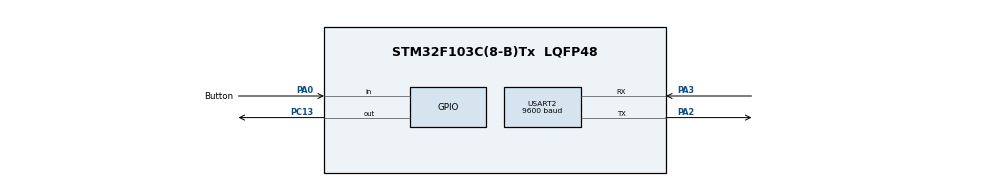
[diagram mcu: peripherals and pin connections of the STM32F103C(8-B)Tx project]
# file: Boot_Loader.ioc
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Mcu.Family=STM32F1
Mcu.Name=STM32F103C(8-B)Tx
Mcu.Package=LQFP48
NVIC.PriorityGroup=NVIC_PRIORITYGROUP_4
PA0-WKUP.GPIO_Label=Button
PA0-WKUP.GPIO_PuPd=GPIO_PULLUP
PA0-WKUP.Signal=GPIO_Input
PA13.Mode=Serial_Wire
PA13.Signal=SYS_JTMS-SWDIO
PA14.Mode=Serial_Wire
PA14.Signal=SYS_JTCK-SWCLK
PA2.Mode=Asynchronous
PA2.Signal=USART2_TX
PA3.Mode=Asynchronous
PA3.Signal=USART2_RX
PC13-TAMPER-RTC.Signal=GPIO_Output
PD0-OSC_IN.Mode=HSE-External-Oscillator
PD0-OSC_IN.Signal=RCC_OSC_IN
PD1-OSC_OUT.Mode=HSE-External-Oscillator
PD1-OSC_OUT.Signal=RCC_OSC_OUT
ProjectManager.HeapSize=0x200
ProjectManager.StackSize=0x400
ProjectManager.TargetToolchain=CMake
RCC.APB1Freq_Value=8000000
RCC.APB2Freq_Value=8000000
USART2.BaudRate=9600
USART2.VirtualMode=VM_ASYNC
board=custom

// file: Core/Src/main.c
/* USER CODE BEGIN Header */
/**
 ******************************************************************************
 * @file           : main.c
 * @brief          : Main program body
 ******************************************************************************
 * @attention
 *
 * Copyright (c) 2025 STMicroelectronics.
 * All rights reserved.
 *
 * This software is licensed under terms that can be found in the LICENSE file
 * in the root directory of this software component.
 * If no LICENSE file comes with this software, it is provided AS-IS.
 *
 ******************************************************************************
 */
/* USER CODE END Header */
#include "main.h"

UART_HandleTypeDef huart2;

void SystemClock_Config(void);
static void MX_GPIO_Init(void);
static void MX_USART2_UART_Init(void);
/* USER CODE BEGIN PFP */
int _write(int fd, char *ptr, int len) {
	HAL_StatusTypeDef hstatus;

	if (fd == 1 || fd == 2) {
		hstatus = HAL_UART_Transmit(&huart2, (uint8_t*) ptr, len,HAL_MAX_DELAY);
		if (hstatus == HAL_OK)
			return len;
		else
			return -1;
	}
	return -1;
}
/* USER CODE END PFP */

/* USER CODE BEGIN 0 */

#define ADDR_APP_PROGRAM 0x8008000
typedef void (*pFunction)(void);

void enter_to_app(){
  HAL_RCC_DeInit();
  HAL_DeInit();
  SCB->SHCSR &= ~(SCB_SHCSR_BUSFAULTENA_Msk |
                  SCB_SHCSR_USGFAULTENA_Msk |
                  SCB_SHCSR_MEMFAULTENA_Msk );
  __set_MSP(*(__IO uint32_t*)ADDR_APP_PROGRAM);
  pFunction app_entry = (pFunction) (*(__IO uint32_t*) (ADDR_APP_PROGRAM + 4));
  app_entry();
}

/* USER CODE END 0 */

int main(void)
{

  /* MCU Configuration--------------------------------------------------------*/

  /* Reset of all peripherals, Initializes the Flash interface and the Systick. */
  HAL_Init();

  /* Configure the system clock */
  SystemClock_Config();

  /* Initialize all configured peripherals */
  MX_GPIO_Init();
  MX_USART2_UART_Init();

  /* Infinite loop */
  /* USER CODE BEGIN WHILE */
  uint32_t now = 0; uint32_t next_tick = 1000;
  while (1)
  {
    now = uwTick;
    if(HAL_GPIO_ReadPin(GPIOA,Button_Pin) == 0){
      enter_to_app();
    }
    //HAL_UART_Transmit(&huart2, str, 20,HAL_MAX_DELAY);
    if(now > next_tick){
      printf("\n\n\n-----------\nBootLoaderrr\n");
      next_tick += 1000;
    }
    /* USER CODE END WHILE */

  }
}

void SystemClock_Config(void)
{
  RCC_OscInitTypeDef RCC_OscInitStruct = {0};
  RCC_ClkInitTypeDef RCC_ClkInitStruct = {0};

  /** Initializes the RCC Oscillators according to the specified parameters
  * in the RCC_OscInitTypeDef structure.
  */
  RCC_OscInitStruct.OscillatorType = RCC_OSCILLATORTYPE_HSI;
  RCC_OscInitStruct.HSIState = RCC_HSI_ON;
  RCC_OscInitStruct.HSICalibrationValue = RCC_HSICALIBRATION_DEFAULT;
  RCC_OscInitStruct.PLL.PLLState = RCC_PLL_NONE;
  if (HAL_RCC_OscConfig(&RCC_OscInitStruct) != HAL_OK)
  {
    Error_Handler();
  }

  /** Initializes the CPU, AHB and APB buses clocks
  */
  RCC_ClkInitStruct.ClockType = RCC_CLOCKTYPE_HCLK|RCC_CLOCKTYPE_SYSCLK
                              |RCC_CLOCKTYPE_PCLK1|RCC_CLOCKTYPE_PCLK2;
  RCC_ClkInitStruct.SYSCLKSource = RCC_SYSCLKSOURCE_HSI;
  RCC_ClkInitStruct.AHBCLKDivider = RCC_SYSCLK_DIV1;
  RCC_ClkInitStruct.APB1CLKDivider = RCC_HCLK_DIV1;
  RCC_ClkInitStruct.APB2CLKDivider = RCC_HCLK_DIV1;

  if (HAL_RCC_ClockConfig(&RCC_ClkInitStruct, FLASH_LATENCY_0) != HAL_OK)
  {
    Error_Handler();
  }
}

static void MX_USART2_UART_Init(void)
{

  huart2.Instance = USART2;
  huart2.Init.BaudRate = 9600;
  huart2.Init.WordLength = UART_WORDLENGTH_8B;
  huart2.Init.StopBits = UART_STOPBITS_1;
  huart2.Init.Parity = UART_PARITY_NONE;
  huart2.Init.Mode = UART_MODE_TX_RX;
  huart2.Init.HwFlowCtl = UART_HWCONTROL_NONE;
  huart2.Init.OverSampling = UART_OVERSAMPLING_16;
  if (HAL_UART_Init(&huart2) != HAL_OK)
  {
    Error_Handler();
  }

}

static void MX_GPIO_Init(void)
{
  GPIO_InitTypeDef GPIO_InitStruct = {0};

  /* GPIO Ports Clock Enable */
  __HAL_RCC_GPIOC_CLK_ENABLE();
  __HAL_RCC_GPIOD_CLK_ENABLE();
  __HAL_RCC_GPIOA_CLK_ENABLE();

  /*Configure GPIO pin Output Level */
  HAL_GPIO_WritePin(GPIOC, GPIO_PIN_13, GPIO_PIN_RESET);

  /*Configure GPIO pin : PC13 */
  GPIO_InitStruct.Pin = GPIO_PIN_13;
  GPIO_InitStruct.Mode = GPIO_MODE_OUTPUT_PP;
  GPIO_InitStruct.Pull = GPIO_NOPULL;
  GPIO_InitStruct.Speed = GPIO_SPEED_FREQ_LOW;
  HAL_GPIO_Init(GPIOC, &GPIO_InitStruct);

  /*Configure GPIO pin : Button_Pin */
  GPIO_InitStruct.Pin = Button_Pin;
  GPIO_InitStruct.Mode = GPIO_MODE_INPUT;
  GPIO_InitStruct.Pull = GPIO_PULLUP;
  HAL_GPIO_Init(Button_GPIO_Port, &GPIO_InitStruct);

}

void Error_Handler(void)
{
  __disable_irq();
  while (1)
  {
  }
}
